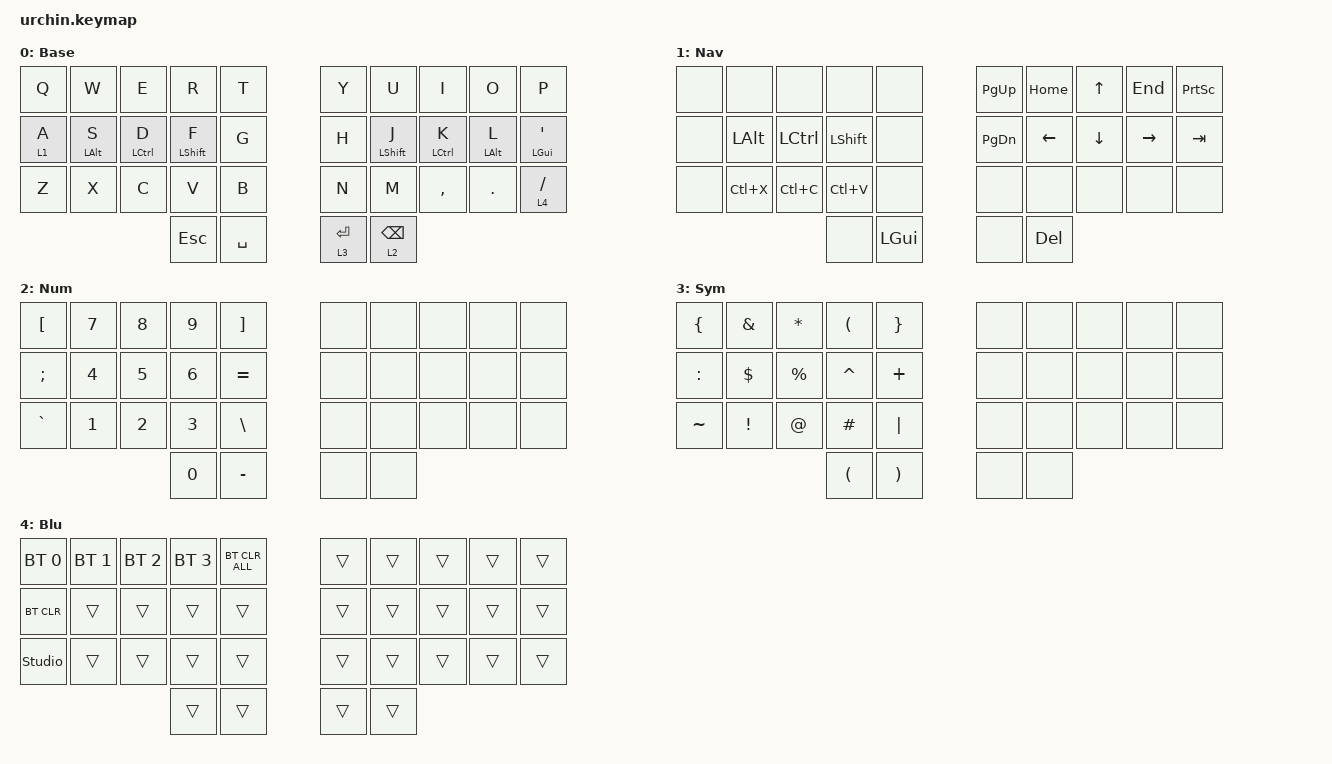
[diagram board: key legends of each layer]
/*
 * Copyright (c) 2020 duckyb
 *
 * SPDX-License-Identifier: MIT
 */

#include <behaviors.dtsi>
#include <dt-bindings/zmk/keys.h>
#include <dt-bindings/zmk/bt.h>
#include <dt-bindings/zmk/outputs.h>

// Layer definitions
 #define QWERTY  0
 #define BT      1
 #define NUM     2
 #define NAV     3
 #define SYM     4
// -----------------




/ {
     behaviors {
         /* Behaviors from your first keymap, without labels */
         hm: homerow_mods {
             compatible = "zmk,behavior-hold-tap";
             #binding-cells = <2>;
             tapping-term-ms = <200>;
             quick-tap-ms = <0>;
             flavor = "balanced";
             bindings = <&kp>, <&kp>;
         };
 
         hmn: homerow_nav {
             compatible = "zmk,behavior-hold-tap";
             #binding-cells = <2>;
             tapping-term-ms = <200>;
             quick-tap-ms = <0>;
             flavor = "balanced";
             bindings = <&mo>, <&kp>;
         };
     };

	combos {
		compatible = "zmk,combos";
		// both right thumb keys
		combo_accent {
			timeout-ms = <200>;
			key-positions = <32 33>;
			bindings = <&mo 4>;
		};
	};

	keymap {
		compatible = "zmk,keymap";
		qwerty {
			label = "Base";
             bindings = <
                 &kp Q         &kp W         &kp E         &kp R         &kp T             &kp Y         &kp U         &kp I         &kp O         &kp P
                 &hmn 1 A    &hm LALT S    &hm LCTRL D   &hm LSHFT F   &kp G             &kp H         &hm LSHFT J   &hm LCTRL K   &hm LALT L   &hm LGUI SQT
                 &kp Z       &kp X         &kp C         &kp V         &kp B             &kp N         &kp M         &kp COMMA    &kp DOT     &lt 4 FSLH
                             &kp ESC      &kp SPACE   &lt 3 ENTER   &lt 2 BACKSPACE
             >;
		};

		nav {
			label = "Nav";
			bindings = <
                 &none       &none         &none         &none          &none         &kp PG_UP    &kp HOME    &kp UP      &kp END     &kp PRINTSCREEN
                 &none       &kp LEFT_ALT   &kp LCTRL     &kp LEFT_SHIFT  &none        &kp PG_DN    &kp LEFT    &kp DOWN   &kp RIGHT   &kp TAB
                 &none       &kp LC(X)      &kp LC(C)     &kp LC(V)       &none        &none       &none       &none      &none     &none
                              &none         &kp LEFT_GUI   &none       &kp DELETE
			>;
		};

		num {
			label = "Num";
			bindings = <
                 &kp LBKT    &kp N7    &kp N8    &kp N9    &kp RBKT    &none    &none    &none    &none    &none
                 &kp SEMI    &kp N4    &kp N5    &kp N6    &kp EQUAL   &none    &none    &none    &none    &none
                 &kp GRAVE   &kp N1    &kp N2    &kp N3    &kp BSLH    &none    &none    &none    &none    &none
                               &kp N0    &kp MINUS   &none    &none
			>;
		};

		sym {
			label = "Sym";
			bindings = <
                 &kp LBRC    &kp AMPS    &kp STAR    &kp LPAR    &kp RBRC    &none    &none    &none    &none    &none
                 &kp COLON   &kp DOLLAR  &kp PRCNT   &kp CARET   &kp PLUS    &none    &none    &none    &none    &none
                 &kp TILDE   &kp EXCL    &kp AT      &kp POUND   &kp PIPE    &none    &none    &none    &none    &none
                             &kp LPAR   &kp RPAR  &none    &none
			>;
		};

		// Low frequency symbols.
		bt {
			label = "Blu";
			bindings = <
                 &bt BT_SEL 0    &bt BT_SEL 1   &bt BT_SEL 2   &bt BT_SEL 3   &bt BT_CLR_ALL    &trans    &trans    &trans    &trans    &trans
                 &bt BT_CLR      &trans       &trans       &trans       &trans           &trans    &trans    &trans    &trans    &trans
                 &studio_unlock                         &trans       &trans       &trans       &trans           &trans    &trans    &trans    &trans    &trans
                               &trans       &trans       &trans         &trans
			>;
		};
	};
};
